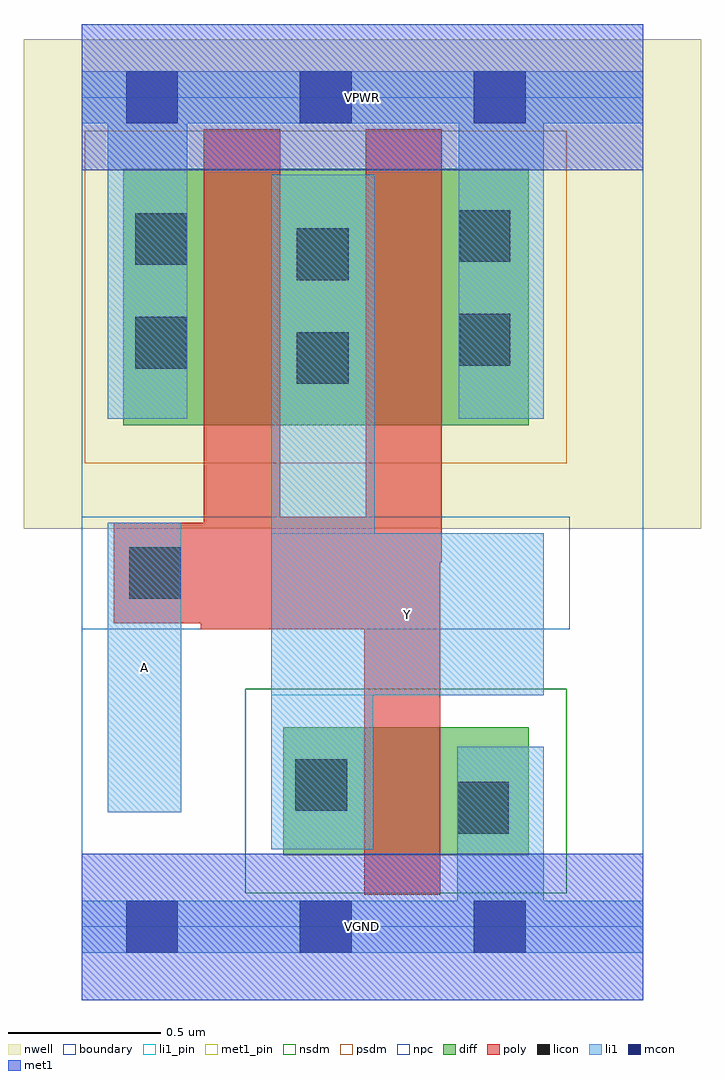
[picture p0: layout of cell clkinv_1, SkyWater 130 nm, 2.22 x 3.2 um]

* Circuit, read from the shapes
.subckt clkinv_1 A VGND VPWR Y
XM1 VGND A Y VSUBS sky130_fd_pr__nfet_01v8 w=0.42 l=0.25
XM2 Y A VPWR n1 sky130_fd_pr__pfet_01v8 w=0.84 l=0.25 m=2
.ends

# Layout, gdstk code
import gdstk
lib = gdstk.Library(unit=1e-6, precision=1e-09)
def R(c, l, rs):  # rectangles x0, y0, x1, y1
    for r in rs: c.add(gdstk.rectangle(r[:2], r[2:], *l))
def A(c, l, x, y, w, h, nx, ny, dx, dy):  # array of equal rectangles
    R(c, l, [(x+i*dx, y+j*dy, x+i*dx+w, y+j*dy+h) for i in range(nx) for j in range(ny)])
nwell = (64, 20)
diff = (65, 20)
poly = (66, 20)
licon = (66, 44)
li1_pin = (67, 16)
li1 = (67, 20)
mcon = (67, 44)
met1_pin = (68, 16)
met1 = (68, 20)
nsdm = (93, 44)
psdm = (94, 20)
npc = (95, 20)
boundary = (235, 4)

clkinv_1 = lib.new_cell('clkinv_1')
R(clkinv_1, nwell, [(-0.19,1.305,2.03,2.91), (0,1.305,1.84,2.91)])
R(clkinv_1, diff, [(0.66,0.235,1.465,0.655), (0.135,1.645,1.465,2.485)])
R(clkinv_1, poly, [(0.925,0.105,0.93,1.345), (0.93,0.105,1.175,2.615), (0.39,0.975,1.175,1.195), (0.4,0.975,0.65,2.615), (0.4,0.975,0.925,1.345), (0.105,0.995,1.175,1.325), (0.93,1.195,1.18,2.615)])
R(clkinv_1, licon, [(1.23,0.305,1.4,0.475), (0.7,0.38,0.87,0.55), (0.155,1.075,0.325,1.245), (0.705,1.78,0.875,1.95), (0.175,1.83,0.345,2), (1.235,1.84,1.405,2.01), (0.705,2.12,0.875,2.29), (0.175,2.17,0.345,2.34), (1.235,2.18,1.405,2.35)])
R(clkinv_1, li1_pin, [(0.085,0.375,0.325,1.325), (0.62,0.76,1.515,1.29)])
R(clkinv_1, li1, [(0,-0.085,1.84,0.085), (1.23,-0.085,1.515,0.59), (0.62,0.255,0.955,2.465), (0.085,0.375,0.325,1.325), (0.62,0.76,1.515,1.29), (0.62,0.76,0.96,2.465), (0.085,1.665,0.345,2.805), (1.235,1.665,1.515,2.805), (0,2.635,1.84,2.805)])
A(clkinv_1, mcon, 0.145, -0.085, 0.17, 0.17, 3, 2, 0.57, 2.72)
R(clkinv_1, met1_pin, [(0,-0.24,1.84,0.24), (0,2.48,1.84,2.96)])
R(clkinv_1, met1, [(0,-0.24,1.84,0.24), (0,2.48,1.84,2.96)])
R(clkinv_1, nsdm, [(0.535,0.11,1.59,0.78)])
R(clkinv_1, psdm, [(0.01,1.52,1.59,2.61)])
R(clkinv_1, npc, [(0,0.975,1.6,1.345)])
R(clkinv_1, boundary, [(0,0,1.84,2.72)])
clkinv_1.add(gdstk.Label('A', (0.205,0.85), layer=67, texttype=5))
clkinv_1.add(gdstk.Label('Y', (1.067,1.025), layer=67, texttype=5))
clkinv_1.add(gdstk.Label('VPWR', (0.92,2.72), layer=68, texttype=5))
clkinv_1.add(gdstk.Label('VGND', (0.92,0), layer=68, texttype=5))
clkinv_1.add(gdstk.Label('A', (0.205,0.85), layer=67, texttype=16))
clkinv_1.add(gdstk.Label('Y', (1.067,1.025), layer=67, texttype=16))
clkinv_1.add(gdstk.Label('VPWR', (0.92,2.72), layer=68, texttype=16))
clkinv_1.add(gdstk.Label('VGND', (0.92,0), layer=68, texttype=16))

lib.write_gds('clkinv_1.gds')
